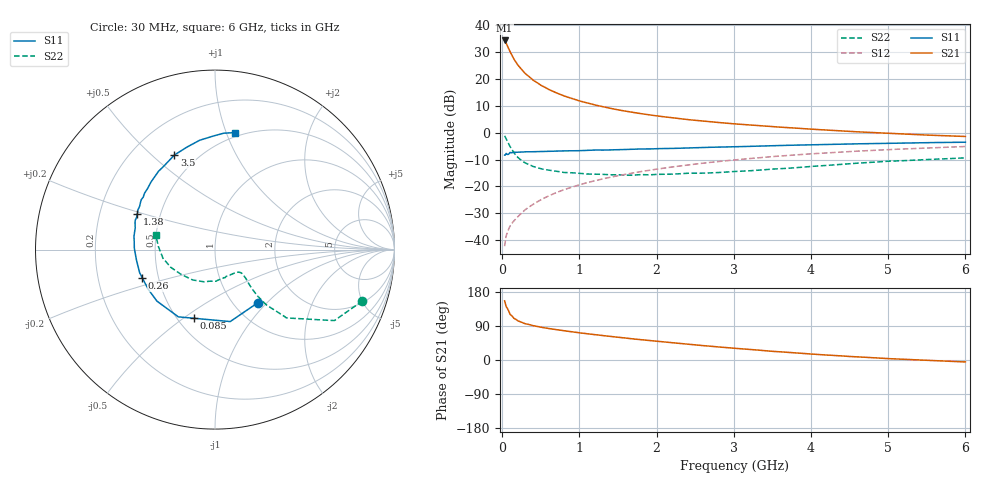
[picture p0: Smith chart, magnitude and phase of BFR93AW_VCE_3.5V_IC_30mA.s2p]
! Infineon Technologies  Discrete & RF Semiconductors
! BFR93AW
! VCE =  3.5 V,  IC =  30 mA
! Common Emitter S-Parameters:  Nov 2015
# GHz  S  MA  R  50
!  f  S11  S21  S12  S22
! GHz  MAG  ANG  MAG  ANG  MAG  ANG  MAG  ANG
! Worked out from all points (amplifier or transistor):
!   206 points, 30 MHz to 6 GHz, reference 50 ohm
!   highest |S21| = 34.2 dB at 30 MHz (marker M1)
!   |S21| within 3 dB of that: start of sweep to 81.95 MHz
!   unconditionally stable (mu >= 1): 450 MHz to 2.2 GHz
!   at 200 MHz: K = 0.82, MSG = 28.2 dB, |S12| = -31.3 dB
!   at 1.56 GHz: K = 1.04, MAG = 10.7 dB, |S12| = -15.7 dB
!   at 6 GHz: K = 0.92, MSG = 1.9 dB, |S12| = -5.2 dB
!   S11 on the Smith chart (normalised r, x): 30 MHz: 1.29, -0.89; 85 MHz: 0.60, -0.55; 260 MHz: 0.41, -0.16; 1.38 GHz: 0.37, +0.19; 3.5 GHz: 0.38, +0.59; 6 GHz: 0.46, +1.08
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0.03  0.3803 -50.9  51.11 156.0  0.0078 73.2  0.87 -19.2
0.05  0.4099 -78.1  45.74 141.1  0.0121 66.3  0.774 -30.7
0.085  0.4003 -107.1  35.36 128.5  0.0165 63.7  0.6142 -38.8
0.1  0.4268 -118.6  31.68 120.7  0.0184 63.0  0.551 -43.7
0.15  0.4324 -138.4  23.03 110.1  0.023 62.5  0.4203 -47.1
0.2  0.4328 -149.3  17.97 103.6  0.0273 64.6  0.3477 -47.5
0.24  0.4332 -156.1  15.29 100.2  0.0311 65.4  0.3097 -46.8
0.26  0.4349 -158.8  14.16 98.5  0.0331 66.2  0.2946 -46.4
0.3  0.4392 -162.9  12.32 95.6  0.0373 68.1  0.272 -45.5
0.4  0.4408 -171.0  9.346 90.5  0.0466 70.1  0.2347 -43.0
0.5  0.445 -176.9  7.55 86.4  0.0566 71.6  0.2121 -41.9
0.6  0.4495 178.9  6.323 83.1  0.0666 72.4  0.2003 -41.4
0.7  0.4515 174.8  5.452 79.9  0.0768 72.5  0.192 -41.9
0.9  0.4582 168.0  4.274 74.4  0.0969 72.4  0.1796 -44.4
1.04  0.4634 163.8  3.727 70.8  0.1116 71.8  0.1733 -47.4
1.38  0.4763 155.2  2.854 62.7  0.1464 70.0  0.165 -56.8
2.02  0.5031 140.9  2.021 49.0  0.2107 64.9  0.1678 -77.6
3.1  0.549 120.2  1.417 29.6  0.3191 54.5  0.1917 -112.2
3.5  0.5736 113.2  1.288 22.9  0.3581 50.5  0.21 -126.4
4.1  0.5961 103.7  1.134 14.4  0.4109 43.8  0.2399 -147.4
5.1  0.6339 90.5  0.954 2.8  0.4893 32.9  0.2971 -173.2
6  0.6616 80.2  0.846 -5.2  0.5508 23.7  0.3396 166.1
